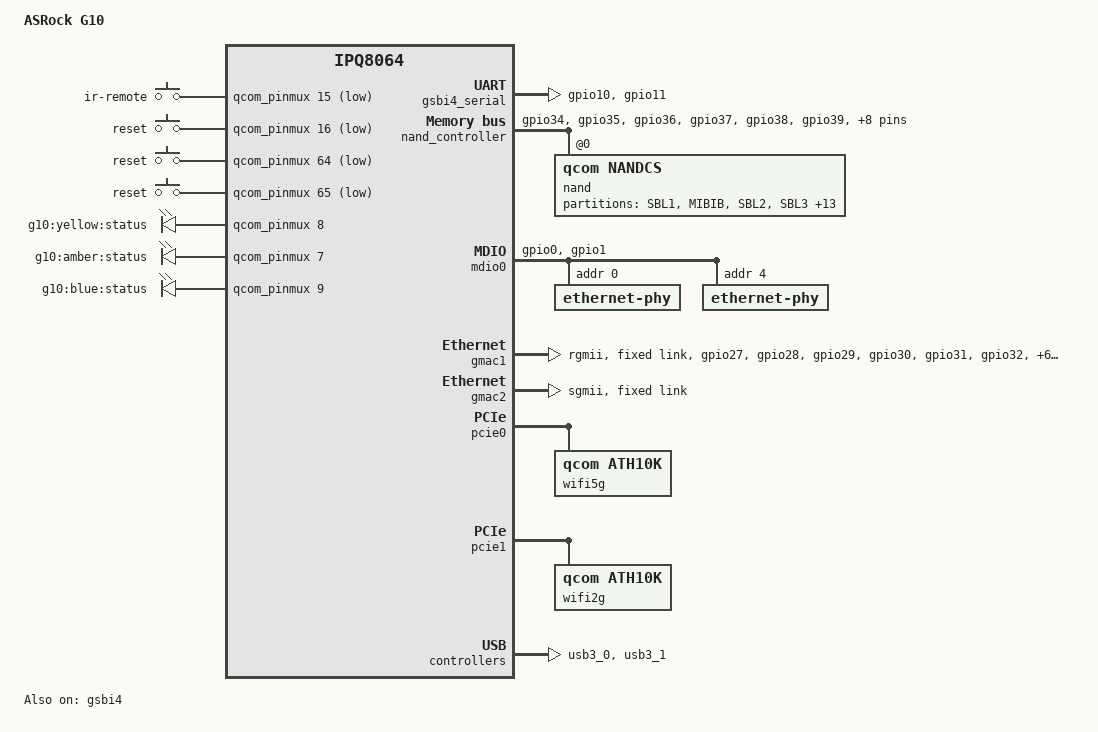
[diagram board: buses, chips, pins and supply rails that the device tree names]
// SPDX-License-Identifier: GPL-2.0
#include "qcom-ipq8064-v2.0.dtsi"

#include <dt-bindings/input/input.h>
#include <dt-bindings/soc/qcom,tcsr.h>

/ {
	compatible = "asrock,g10", "qcom,ipq8064";
	model = "ASRock G10";

	aliases {
		mdio-gpio0 = &mdio0;
		serial0 = &gsbi4_serial;
		ethernet0 = &gmac1;
		ethernet1 = &gmac0;
		label-mac-device = &gmac1;

		led-boot = &led_blue;
		led-failsafe = &led_fail;
		led-running = &led_blue;
		led-upgrade = &led_blue;
	};

	reserved-memory {
		#address-cells = <1>;
		#size-cells = <1>;
		ranges;

		rsvd@41200000 {
			reg = <0x41200000 0x300000>;
			no-map;
		};
	};

	chosen {
		stdout-path = "serial0:115200n8";
		bootargs-append = " console=ttyMSM0,115200n8 root=/dev/ubiblock0_1";
	};

	keys {
		compatible = "gpio-keys";
		pinctrl-0 = <&button_pins>;
		pinctrl-names = "default";

		ir-remote {
			label = "ir-remote";
			gpios = <&qcom_pinmux 15 GPIO_ACTIVE_LOW>;
			linux,code = <BTN_0>;
		};

		reset {
			label = "reset";
			gpios = <&qcom_pinmux 16 GPIO_ACTIVE_LOW>;
			linux,code = <KEY_RESTART>;
		};

		wps5g {
			label = "reset";
			gpios = <&qcom_pinmux 64 GPIO_ACTIVE_LOW>;
			linux,code = <KEY_WPS_BUTTON>;
		};

		wps2g {
			label = "reset";
			gpios = <&qcom_pinmux 65 GPIO_ACTIVE_LOW>;
			linux,code = <KEY_WPS_BUTTON>;
		};
	};

	leds {
		compatible = "gpio-leds";

		pinctrl-0 = <&led_pins>;
		pinctrl-names = "default";

		/*
		 * this is a bit misleading. Because there are about seven
		 * multicolor LEDs connected all wired together in parallel.
		 */

		led_yellow: yellow {
			label = "g10:yellow:status";
			gpios = <&qcom_pinmux 8 GPIO_ACTIVE_HIGH>;
		};

		led_fail: fail {
			label = "g10:amber:status";
			gpios = <&qcom_pinmux 7 GPIO_ACTIVE_HIGH>;
		};

		led_blue: blue {
			label = "g10:blue:status";
			gpios = <&qcom_pinmux 9 GPIO_ACTIVE_HIGH>;
		};

	};
};

&qcom_pinmux {
	led_pins: led_pins {
		mux {
			pins = "gpio7", "gpio8", "gpio9";
			function = "gpio";
			drive-strength = <2>;
			bias-pull-up;
		};
	};

	button_pins: button_pins {
		mux {
			pins = "gpio15", "gpio16", "gpio64", "gpio65";
			function = "gpio";
			drive-strength = <2>;
			bias-pull-up;
		};
	};

	uart0_pins: uart0_pins {
		mux {
			pins = "gpio10", "gpio11";
			function = "gsbi4";
			drive-strength = <10>;
			bias-disable;
		};
	};

	nand_pins: nand_pins {
		mux {
			pins = "gpio34", "gpio35", "gpio36", "gpio37",
			       "gpio38", "gpio39", "gpio40", "gpio41",
			       "gpio42", "gpio43", "gpio44", "gpio45",
			       "gpio46", "gpio47";
			function = "nand";
			drive-strength = <10>;
			bias-disable;
		};

		pullups {
			pins = "gpio39";
			bias-pull-up;
		};

		hold {
			pins = "gpio40", "gpio41", "gpio42", "gpio43",
			       "gpio44", "gpio45", "gpio46", "gpio47";
			bias-bus-hold;
		};
	};

	mdio0_pins: mdio0_pins {
		mux {
			pins = "gpio0", "gpio1";
			function = "mdio";
			drive-strength = <8>;
			bias-disable;
		};
	};

	rgmii2_pins: rgmii2_pins {
		mux {
			pins = "gpio27", "gpio28", "gpio29", "gpio30",
			       "gpio31", "gpio32", "gpio51", "gpio52",
			       "gpio59", "gpio60", "gpio61", "gpio62";
			function = "rgmii2";
			drive-strength = <8>;
			bias-disable;
		};
	};
};

&gsbi4 {
	status = "okay";
	qcom,mode = <GSBI_PROT_I2C_UART>;
};

&gsbi4_serial {
	status = "okay";

	pinctrl-0 = <&uart0_pins>;
	pinctrl-names = "default";
};

&adm_dma {
	status = "okay";
};

&nand_controller {
	status = "okay";

	pinctrl-0 = <&nand_pins>;
	pinctrl-names = "default";

	nand@0 {
		reg = <0>;
		compatible = "qcom,nandcs";

		nand-ecc-strength = <4>;
		nand-bus-width = <8>;
		nand-ecc-step-size = <512>;

		partitions {
			compatible = "fixed-partitions";
			#address-cells = <1>;
			#size-cells = <1>;

			partition@0 {
				label = "SBL1";
				reg = <0x0000000 0x0040000>;
				read-only;
			};

			partition@40000 {
				label = "MIBIB";
				reg = <0x0040000 0x0140000>;
				read-only;
			};

			partition@180000 {
				label = "SBL2";
				reg = <0x0180000 0x0140000>;
				read-only;
			};

			partition@2c0000 {
				label = "SBL3";
				reg = <0x02c0000 0x0280000>;
				read-only;
			};

			partition@540000 {
				label = "DDRCONFIG";
				reg = <0x0540000 0x0120000>;
				read-only;
			};

			partition@660000 {
				label = "SSD";
				reg = <0x0660000 0x0120000>;
				read-only;
			};

			partition@780000 {
				label = "TZ";
				reg = <0x0780000 0x0280000>;
				read-only;
			};

			partition@a00000 {
				label = "RPM";
				reg = <0x0a00000 0x0280000>;
				read-only;
			};

			partition@c80000 {
				label = "APPSBL";
				reg = <0x0c80000 0x0500000>;
				read-only;
			};

			partition@1180000 {
				label = "APPSBLENV";
				reg = <0x1180000 0x0080000>;
				read-only;
			};

			partition@1200000 {
				label = "ART";
				reg = <0x1200000 0x0140000>;
				read-only;
			};

			partition@1340000 {
				label = "rootfs";
				reg = <0x1340000 0x3000000>;
			};

			partition@4340000 {
				label = "BOOTCONFIG";
				reg = <0x4340000 0x0060000>;
				read-only;
			};

			partition@43a0000 {
				label = "APPSBL1";
				reg = <0x43a0000 0x0500000>;
				read-only;
			};

			partition@48a0000 {
				label = "rootfs1";
				reg = <0x48a0000 0x3000000>;
			};

			partition@78a0000 {
				label = "hwconfig";
				reg = <0x78a0000 0x0040000>;
				read-only;
			};

			partition@7e80000 {
				label = "nvram";
				reg = <0x78e0000 0x0040000>;
				read-only;
			};
		};
	};
};

&mdio0 {
	status = "okay";

	pinctrl-0 = <&mdio0_pins>;
	pinctrl-names = "default";

	ethernet-phy@0 {
		reg = <0>;
		qca,ar8327-initvals = <
			0x00004 0x7600000   /* PAD0_MODE */
			0x00008 0x1000000   /* PAD5_MODE */
			0x0000c 0x80        /* PAD6_MODE */
			0x000e4 0x6a545     /* MAC_POWER_SEL */
			0x000e0 0xc74164de  /* SGMII_CTRL */
			0x0007c 0x4e        /* PORT0_STATUS */
			0x00094 0x4e        /* PORT6_STATUS */
			>;
	};

	ethernet-phy@4 {
		reg = <4>;
	};
};

&gmac1 {
	status = "okay";

	pinctrl-0 = <&rgmii2_pins>;
	pinctrl-names = "default";

	phy-mode = "rgmii";
	qcom,id = <1>;

	fixed-link {
		speed = <1000>;
		full-duplex;
	};
};

&gmac2 {
	status = "okay";

	phy-mode = "sgmii";
	qcom,id = <2>;

	fixed-link {
		speed = <1000>;
		full-duplex;
	};
};

&pcie0 {
	status = "okay";

	bridge@0,0 {
		reg = <0x00000000 0 0 0 0>;
		#address-cells = <3>;
		#size-cells = <2>;
		ranges;

		wifi5g: wifi@1,0 {
			reg = <0x00010000 0 0 0 0>;
			compatible = "qcom,ath10k";
			qcom,ath10k-calibration-variant = "ASRock-G10";
		};
	};
};

&pcie1 {
	status = "okay";

	bridge@0,0 {
		reg = <0x00000000 0 0 0 0>;
		#address-cells = <3>;
		#size-cells = <2>;
		ranges;

		wifi2g: wifi@1,0 {
			reg = <0x00010000 0 0 0 0>;
			compatible = "qcom,ath10k";
			qcom,ath10k-calibration-variant = "ASRock-G10";
		};
	};
};

&usb3_0 {
	status = "okay";
};


&usb3_1 {
	status = "okay";
};

&tcsr {
	qcom,usb-ctrl-select = <TCSR_USB_SELECT_USB3_DUAL>;
};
